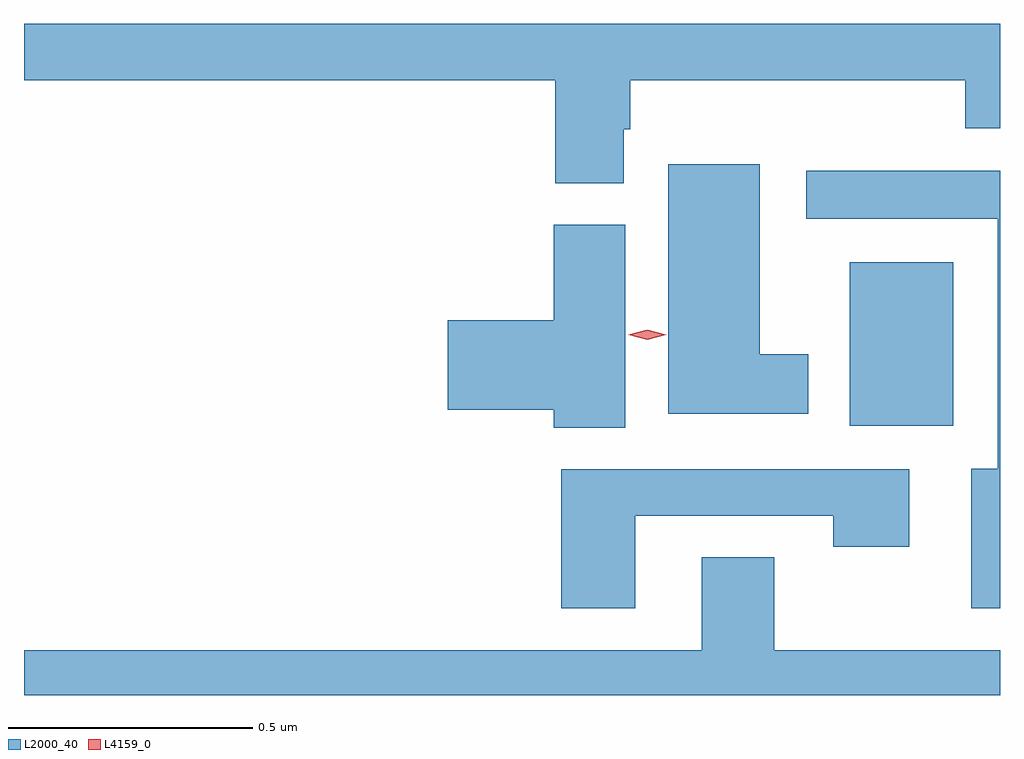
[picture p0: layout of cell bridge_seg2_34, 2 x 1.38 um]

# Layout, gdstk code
import gdstk
lib = gdstk.Library(unit=1e-6, precision=1e-09)
def R(c, l, rs):  # rectangles x0, y0, x1, y1
    for r in rs: c.add(gdstk.rectangle(r[:2], r[2:], *l))
def P(c, l, *ps):  # polygons
    for p in ps: c.add(gdstk.Polygon(p, *l))
L2000_40 = (2000, 40)
L4159_0 = (4159, 0)

bridge_seg2_34 = lib.new_cell('bridge_seg2_34')
R(bridge_seg2_34, L2000_40, [(666.344,665.576,666.556,665.911)])
P(bridge_seg2_34, L2000_40, [(665.881,666.183),(665.894,666.183),(665.894,666.284),(666.581,666.284),(666.581,666.185),(666.652,666.185),(666.652,666.4),(664.652,666.4),(664.652,666.284),(665.741,666.284),(665.741,666.073),(665.881,666.073)],
  [(666.259,665.722),(666.16,665.722),(666.16,666.112),(665.972,666.112),(665.972,665.6),(666.259,665.6)],
  [(666.652,666.098),(666.255,666.098),(666.255,666),(666.647,666),(666.647,665.488),(666.593,665.488),(666.593,665.202),(666.652,665.202)],
  [(665.884,665.988),(665.738,665.988),(665.738,665.792),(665.52,665.792),(665.52,665.609),(665.738,665.609),(665.738,665.572),(665.884,665.572)],
  [(665.905,665.391),(666.31,665.391),(666.31,665.328),(666.466,665.328),(666.466,665.487),(665.753,665.487),(665.753,665.202),(665.905,665.202)],
  [(666.652,665.116),(666.189,665.116),(666.189,665.306),(666.041,665.306),(666.041,665.116),(664.652,665.116),(664.652,665.023),(666.652,665.023)])
P(bridge_seg2_34, L4159_0, [(665.929,665.752),(665.89,665.762),(665.89,665.762),(665.89,665.762),(665.929,665.772),(665.968,665.762),(665.968,665.762),(665.968,665.762)])

lib.write_gds('bridge_seg2_34.gds')
